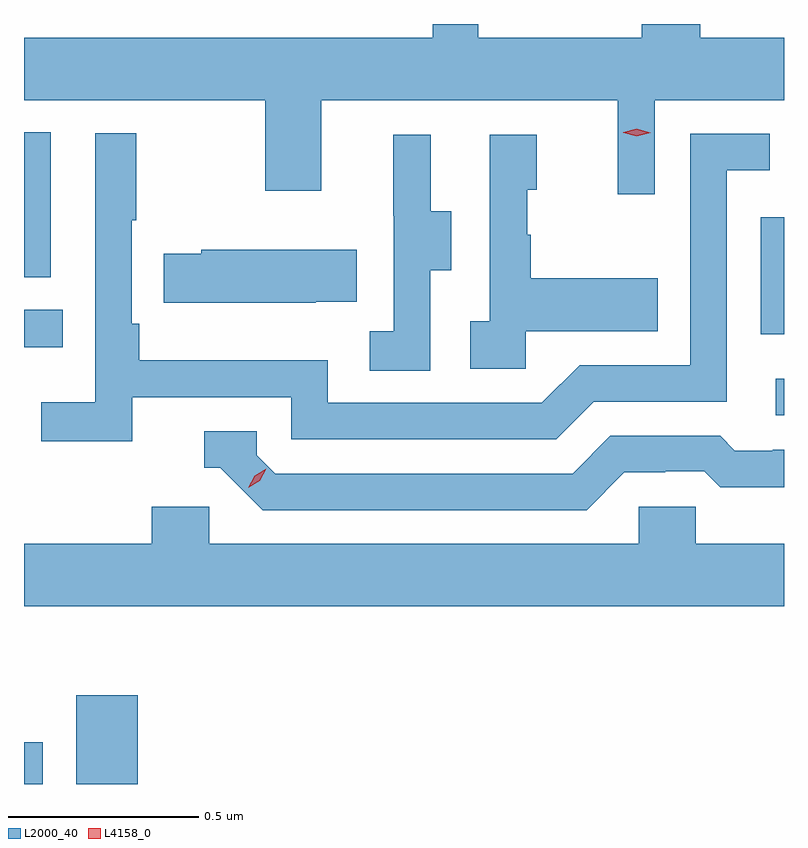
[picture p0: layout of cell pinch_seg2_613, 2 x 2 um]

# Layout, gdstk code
import gdstk
lib = gdstk.Library(unit=1e-6, precision=1e-09)
def R(c, l, rs):  # rectangles x0, y0, x1, y1
    for r in rs: c.add(gdstk.rectangle(r[:2], r[2:], *l))
def P(c, l, *ps):  # polygons
    for p in ps: c.add(gdstk.Polygon(p, *l))
L2000_40 = (2000, 40)
L4158_0 = (4158, 0)

pinch_seg2_613 = lib.new_cell('pinch_seg2_613')
R(pinch_seg2_613, L2000_40, [(1029.881,609.872,1029.93,609.982), (1030.019,609.872,1030.18,610.105), (1031.859,610.842,1031.881,610.938), (1029.881,611.021,1029.983,611.12), (1031.82,611.055,1031.881,611.364), (1029.881,611.205,1029.952,611.587)])
P(pinch_seg2_613, L2000_40, [(1031.541,611.672),(1031.881,611.672),(1031.881,611.836),(1031.66,611.836),(1031.66,611.872),(1031.507,611.872),(1031.507,611.836),(1031.077,611.836),(1031.077,611.872),(1030.956,611.872),(1030.956,611.836),(1029.881,611.836),(1029.881,611.672),(1030.516,611.672),(1030.516,611.433),(1030.663,611.433),(1030.663,611.672),(1031.444,611.672),(1031.444,611.424),(1031.541,611.424)],
  [(1030.166,610.89),(1030.584,610.89),(1030.584,610.779),(1031.281,610.779),(1031.38,610.878),(1031.73,610.878),(1031.73,611.487),(1031.843,611.487),(1031.843,611.583),(1031.634,611.583),(1031.634,610.974),(1031.343,610.974),(1031.244,610.875),(1030.68,610.875),(1030.68,610.987),(1030.184,610.987),(1030.184,611.083),(1030.164,611.083),(1030.164,611.356),(1030.177,611.356),(1030.177,611.584),(1030.068,611.584),(1030.068,610.876),(1029.927,610.876),(1029.927,610.774),(1030.166,610.774)],
  [(1031.202,611.063),(1031.549,611.063),(1031.549,611.203),(1031.215,611.203),(1031.215,611.318),(1031.205,611.318),(1031.205,611.436),(1031.23,611.436),(1031.23,611.581),(1031.106,611.581),(1031.106,611.09),(1031.055,611.09),(1031.055,610.965),(1031.202,610.965)],
  [(1030.95,611.224),(1031.005,611.224),(1031.005,611.379),(1030.951,611.379),(1030.951,611.581),(1030.853,611.581),(1030.853,611.367),(1030.854,611.367),(1030.854,611.063),(1030.791,611.063),(1030.791,610.96),(1030.95,610.96)],
  [(1030.649,611.141),(1030.757,611.141),(1030.757,611.278),(1030.347,611.278),(1030.347,611.268),(1030.249,611.268),(1030.249,611.138),(1030.649,611.138)],
  [(1031.461,610.692),(1031.568,610.692),(1031.568,610.695),(1031.671,610.695),(1031.713,610.653),(1031.881,610.653),(1031.881,610.752),(1031.851,610.752),(1031.851,610.749),(1031.752,610.749),(1031.713,610.788),(1031.424,610.788),(1031.325,610.689),(1030.542,610.689),(1030.494,610.737),(1030.494,610.8),(1030.355,610.8),(1030.355,610.704),(1030.398,610.704),(1030.509,610.593),(1031.362,610.593)],
  [(1031.881,610.504),(1031.649,610.504),(1031.649,610.602),(1031.499,610.602),(1031.499,610.504),(1030.368,610.504),(1030.368,610.602),(1030.217,610.602),(1030.217,610.504),(1029.881,610.504),(1029.881,610.34),(1031.881,610.34)])
P(pinch_seg2_613, L4158_0, [(1030.471,610.651),(1030.471,610.651),(1030.488,610.683),(1030.519,610.702),(1030.519,610.702),(1030.519,610.702),(1030.502,610.67),(1030.471,610.651)],
  [(1031.494,611.576),(1031.458,611.586),(1031.458,611.586),(1031.458,611.587),(1031.494,611.596),(1031.53,611.586),(1031.53,611.586),(1031.53,611.586)])

lib.write_gds('pinch_seg2_613.gds')
